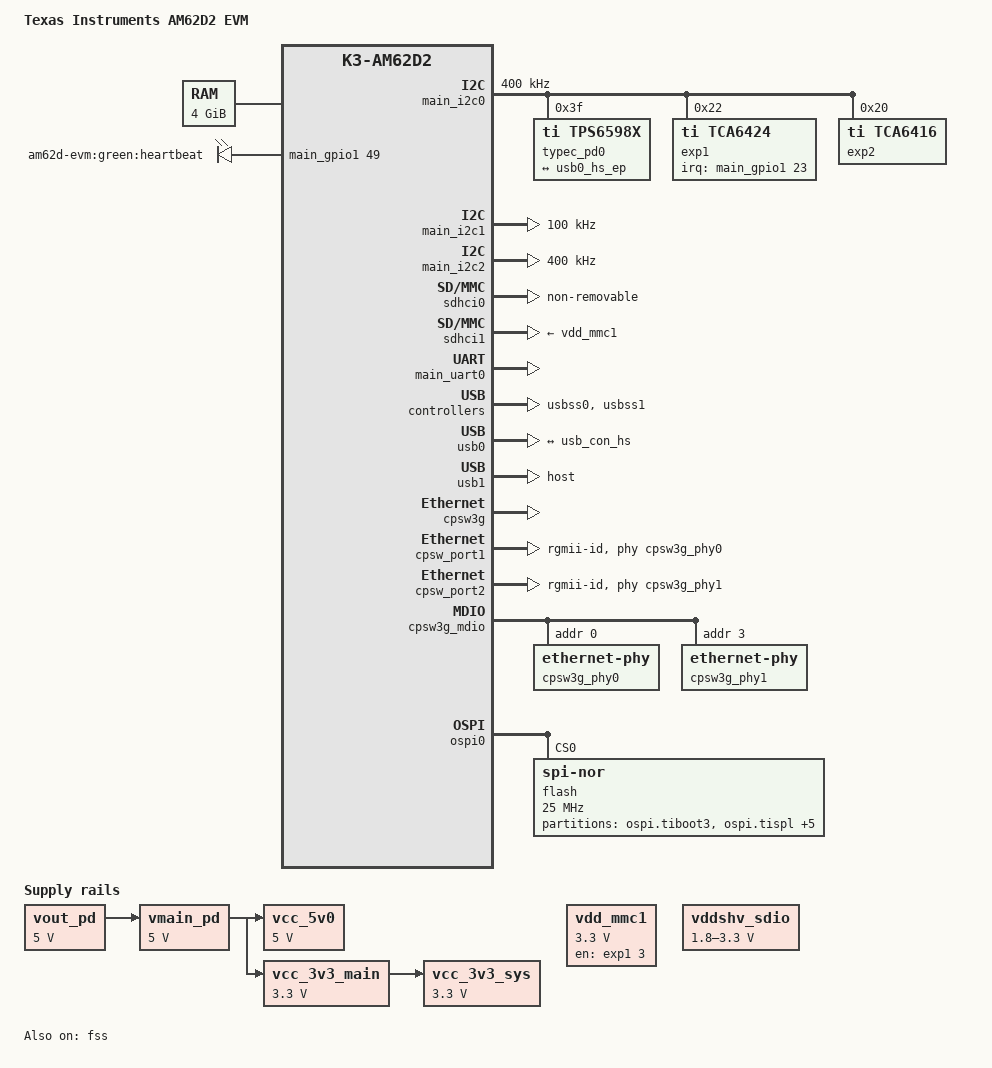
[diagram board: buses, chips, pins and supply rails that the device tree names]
// SPDX-License-Identifier: GPL-2.0-only OR MIT
/*
 * AM62D2 EVM: https://www.ti.com/lit/zip/sprcal5
 *
 * Copyright (C) 2025 Texas Instruments Incorporated - https://www.ti.com/
 */

/dts-v1/;

#include <dt-bindings/leds/common.h>
#include <dt-bindings/gpio/gpio.h>
#include <dt-bindings/net/ti-dp83867.h>
#include "k3-am62d2.dtsi"

/ {
	compatible = "ti,am62d2-evm", "ti,am62d2";
	model = "Texas Instruments AM62D2 EVM";

	aliases {
		serial0 = &wkup_uart0;
		serial1 = &mcu_uart0;
		serial2 = &main_uart0;
		mmc0 = &sdhci0;
		mmc1 = &sdhci1;
		rtc0 = &wkup_rtc0;
		ethernet0 = &cpsw_port1;
		ethernet1 = &cpsw_port2;
		spi0 = &ospi0;
	};

	chosen {
		stdout-path = &main_uart0;
	};

	memory@80000000 {
		device_type = "memory";
		/* 4G RAM */
		reg = <0x00000000 0x80000000 0x00000000 0x80000000>,
		      <0x00000008 0x80000000 0x00000000 0x80000000>;
		bootph-all;
	};

	reserved_memory: reserved-memory {
		#address-cells = <2>;
		#size-cells = <2>;
		ranges;

		/* global cma region */
		linux,cma {
			compatible = "shared-dma-pool";
			reusable;
			size = <0x00 0x2000000>;
			alloc-ranges = <0x00 0xc0000000 0x00 0x2000000>;
			linux,cma-default;
		};

		secure_tfa_ddr: tfa@80000000 {
			reg = <0x00 0x80000000 0x00 0x80000>;
			no-map;
		};

		wkup_r5fss0_core0_dma_memory_region: memory@9c800000 {
			compatible = "shared-dma-pool";
			reg = <0x00 0x9c800000 0x00 0x100000>;
			no-map;
		};

		wkup_r5fss0_core0_memory_region: memory@9c900000 {
			compatible = "shared-dma-pool";
			reg = <0x00 0x9c900000 0x00 0xf00000>;
			no-map;
			bootph-pre-ram;
		};

		secure_ddr: optee@9e800000 {
			reg = <0x00 0x9e800000 0x00 0x01800000>; /* for OP-TEE */
			no-map;
		};

		rtos_ipc_memory_region: memory@a0000000 {
			compatible = "shared-dma-pool";
			reg = <0x00 0xa0000000 0x00 0x01000000>;
			no-map;
		};
	};

	opp-table {
		/* Requires VDD_CORE at 0v85 */
		opp-1400000000 {
			opp-hz = /bits/ 64 <1400000000>;
			opp-supported-hw = <0x01 0x0004>;
			clock-latency-ns = <6000000>;
		};
	};

	vout_pd: regulator-0 {
		/* TPS65988 PD CONTROLLER OUTPUT */
		compatible = "regulator-fixed";
		regulator-name = "vout_pd";
		regulator-min-microvolt = <5000000>;
		regulator-max-microvolt = <5000000>;
		regulator-always-on;
		regulator-boot-on;
		bootph-all;
	};

	vmain_pd: regulator-1 {
		/* Output of TPS22811 */
		compatible = "regulator-fixed";
		regulator-name = "vmain_pd";
		regulator-min-microvolt = <5000000>;
		regulator-max-microvolt = <5000000>;
		vin-supply = <&vout_pd>;
		regulator-always-on;
		regulator-boot-on;
		bootph-all;
	};

	vcc_5v0: regulator-2 {
		/* Output of TPS630702RNMR */
		compatible = "regulator-fixed";
		regulator-name = "vcc_5v0";
		regulator-min-microvolt = <5000000>;
		regulator-max-microvolt = <5000000>;
		vin-supply = <&vmain_pd>;
		regulator-always-on;
		regulator-boot-on;
		bootph-all;
	};

	vcc_3v3_main: regulator-3 {
		/* output of LM5141-Q1 */
		compatible = "regulator-fixed";
		regulator-name = "vcc_3v3_main";
		regulator-min-microvolt = <3300000>;
		regulator-max-microvolt = <3300000>;
		vin-supply = <&vmain_pd>;
		regulator-always-on;
		regulator-boot-on;
		bootph-all;
	};

	vdd_mmc1: regulator-4 {
		/* TPS22918DBVR */
		compatible = "regulator-fixed";
		regulator-name = "vdd_mmc1";
		regulator-min-microvolt = <3300000>;
		regulator-max-microvolt = <3300000>;
		regulator-boot-on;
		enable-active-high;
		gpio = <&exp1 3 GPIO_ACTIVE_HIGH>;
		bootph-all;
	};

	vcc_3v3_sys: regulator-5 {
		/* output of TPS222965DSGT */
		compatible = "regulator-fixed";
		regulator-name = "vcc_3v3_sys";
		regulator-min-microvolt = <3300000>;
		regulator-max-microvolt = <3300000>;
		vin-supply = <&vcc_3v3_main>;
		regulator-always-on;
		regulator-boot-on;
		bootph-all;
	};

	vddshv_sdio: regulator-6 {
		compatible = "regulator-gpio";
		regulator-name = "vddshv_sdio";
		pinctrl-names = "default";
		pinctrl-0 = <&vddshv_sdio_pins_default>;
		regulator-min-microvolt = <1800000>;
		regulator-max-microvolt = <3300000>;
		regulator-boot-on;
		gpios = <&main_gpio1 31 GPIO_ACTIVE_HIGH>;
		states = <1800000 0x0>,
			 <3300000 0x1>;
		bootph-all;
	};

	leds {
		compatible = "gpio-leds";
		pinctrl-names = "default";
		pinctrl-0 = <&usr_led_pins_default>;

		led-0 {
			label = "am62d-evm:green:heartbeat";
			gpios = <&main_gpio1 49 GPIO_ACTIVE_HIGH>;
			linux,default-trigger = "heartbeat";
			function = LED_FUNCTION_HEARTBEAT;
			default-state = "off";
		};
	};
};

&mcu_pmx0 {
	status = "okay";

	pmic_irq_pins_default: pmic-irq-default-pins {
		pinctrl-single,pins = <
			AM62DX_MCU_IOPAD(0x000, PIN_INPUT, 7) /* (E11) MCU_GPIO0_0 */
		>;
	};

	wkup_uart0_pins_default: wkup-uart0-default-pins {
		pinctrl-single,pins = <
			AM62DX_MCU_IOPAD(0x0024, PIN_INPUT, 0) /* (C9) WKUP_UART0_RXD */
			AM62DX_MCU_IOPAD(0x0028, PIN_OUTPUT, 0) /* (E9) WKUP_UART0_TXD */
			AM62DX_MCU_IOPAD(0x002c, PIN_INPUT, 0) /* (C10) WKUP_UART0_CTSn */
			AM62DX_MCU_IOPAD(0x0030, PIN_OUTPUT, 0) /* (C8) WKUP_UART0_RTSn */
		>;
		bootph-all;
	};
};

/* WKUP UART0 is used for DM firmware logs */
&wkup_uart0 {
	pinctrl-names = "default";
	pinctrl-0 = <&wkup_uart0_pins_default>;
	bootph-all;
	status = "reserved";
};

&main_pmx0 {
	main_uart0_pins_default: main-uart0-default-pins {
		pinctrl-single,pins = <
			AM62DX_IOPAD(0x01c8, PIN_INPUT, 0) /* (E14) UART0_RXD */
			AM62DX_IOPAD(0x01cc, PIN_OUTPUT, 0) /* (D15) UART0_TXD */
		>;
		bootph-all;
	};

	main_i2c0_pins_default: main-i2c0-default-pins {
		pinctrl-single,pins = <
			AM62DX_IOPAD(0x01e0, PIN_INPUT_PULLUP, 0) /* (D17) I2C0_SCL */
			AM62DX_IOPAD(0x01e4, PIN_INPUT_PULLUP, 0) /* (E16) I2C0_SDA */
		>;
		bootph-all;
	};

	main_i2c1_pins_default: main-i2c1-default-pins {
		pinctrl-single,pins = <
			AM62DX_IOPAD(0x01e8, PIN_INPUT_PULLUP, 0) /* (C17) I2C1_SCL */
			AM62DX_IOPAD(0x01ec, PIN_INPUT_PULLUP, 0) /* (E17) I2C1_SDA */
		>;
		bootph-all;
	};

	main_i2c2_pins_default: main-i2c2-default-pins {
		pinctrl-single,pins = <
			AM62DX_IOPAD(0x00b0, PIN_INPUT_PULLUP, 1) /* (M22) GPMC0_CSn2.I2C2_SCL */
			AM62DX_IOPAD(0x00b4, PIN_INPUT_PULLUP, 1) /* (M20) GPMC0_CSn3.I2C2_SDA */
		>;
	};

	main_mmc0_pins_default: main-mmc0-default-pins {
		pinctrl-single,pins = <
			AM62DX_IOPAD(0x0220, PIN_INPUT_PULLUP, 0) /* (Y6) MMC0_CMD */
			AM62DX_IOPAD(0x0218, PIN_OUTPUT, 0) /* (AB7) MMC0_CLK */
			AM62DX_IOPAD(0x0214, PIN_INPUT_PULLUP, 0) /* (AA6) MMC0_DAT0 */
			AM62DX_IOPAD(0x0210, PIN_INPUT_PULLUP, 0) /* (AB6) MMC0_DAT1 */
			AM62DX_IOPAD(0x020c, PIN_INPUT_PULLUP, 0) /* (Y7) MMC0_DAT2 */
			AM62DX_IOPAD(0x0208, PIN_INPUT_PULLUP, 0) /* (AA7) MMC0_DAT3 */
			AM62DX_IOPAD(0x0204, PIN_INPUT_PULLUP, 0) /* (Y8) MMC0_DAT4 */
			AM62DX_IOPAD(0x0200, PIN_INPUT_PULLUP, 0) /* (W7) MMC0_DAT5 */
			AM62DX_IOPAD(0x01fc, PIN_INPUT_PULLUP, 0) /* (W9) MMC0_DAT6 */
			AM62DX_IOPAD(0x01f8, PIN_INPUT_PULLUP, 0) /* (AB8) MMC0_DAT7 */
		>;
		bootph-all;
	};

	main_mmc1_pins_default: main-mmc1-default-pins {
		pinctrl-single,pins = <
			AM62DX_IOPAD(0x023c, PIN_INPUT, 0) /* (C21) MMC1_CMD */
			AM62DX_IOPAD(0x0234, PIN_OUTPUT, 0) /* (E22) MMC1_CLK */
			AM62DX_IOPAD(0x0230, PIN_INPUT, 0) /* (B22) MMC1_DAT0 */
			AM62DX_IOPAD(0x022c, PIN_INPUT, 0) /* (D21) MMC1_DAT1 */
			AM62DX_IOPAD(0x0228, PIN_INPUT, 0) /* (C22) MMC1_DAT2 */
			AM62DX_IOPAD(0x0224, PIN_INPUT, 0) /* (D22) MMC1_DAT3 */
			AM62DX_IOPAD(0x0240, PIN_INPUT, 0) /* (E18) MMC1_SDCD */
		>;
		bootph-all;
	};

	main_mdio0_pins_default: main-mdio0-default-pins {
		pinctrl-single,pins = <
			AM62DX_IOPAD(0x160, PIN_OUTPUT, 0) /* (V12) MDIO0_MDC */
			AM62DX_IOPAD(0x15c, PIN_INPUT, 0) /* (V13) MDIO0_MDIO */
		>;
		bootph-all;
	};

	main_rgmii1_pins_default: main-rgmii1-default-pins {
		pinctrl-single,pins = <
			AM62DX_IOPAD(0x14c, PIN_INPUT, 0) /* (AB16) RGMII1_RD0 */
			AM62DX_IOPAD(0x150, PIN_INPUT, 0) /* (V15) RGMII1_RD1 */
			AM62DX_IOPAD(0x154, PIN_INPUT, 0) /* (W15) RGMII1_RD2 */
			AM62DX_IOPAD(0x158, PIN_INPUT, 0) /* (V14) RGMII1_RD3 */
			AM62DX_IOPAD(0x148, PIN_INPUT, 0) /* (AA16) RGMII1_RXC */
			AM62DX_IOPAD(0x144, PIN_INPUT, 0) /* (AA15) RGMII1_RX_CTL */
			AM62DX_IOPAD(0x134, PIN_INPUT, 0) /* (Y17) RGMII1_TD0 */
			AM62DX_IOPAD(0x138, PIN_INPUT, 0) /* (V16) RGMII1_TD1 */
			AM62DX_IOPAD(0x13c, PIN_INPUT, 0) /* (Y16) RGMII1_TD2 */
			AM62DX_IOPAD(0x140, PIN_INPUT, 0) /* (AA17) RGMII1_TD3 */
			AM62DX_IOPAD(0x0130, PIN_OUTPUT, 0) /* (AB17) RGMII1_TXC */
			AM62DX_IOPAD(0x012c, PIN_OUTPUT, 0) /* (W16) RGMII1_TX_CTL */
		>;
		bootph-all;
	};

	main_rgmii2_pins_default: main-rgmii2-default-pins {
		pinctrl-single,pins = <
			AM62DX_IOPAD(0x0184, PIN_INPUT, 0) /* (AA21) RGMII2_RD0 */
			AM62DX_IOPAD(0x0188, PIN_INPUT, 0) /* (Y20) RGMII2_RD1 */
			AM62DX_IOPAD(0x018c, PIN_INPUT, 0) /* (AB21) RGMII2_RD2 */
			AM62DX_IOPAD(0x0190, PIN_INPUT, 0) /* (AB20) RGMII2_RD3 */
			AM62DX_IOPAD(0x0180, PIN_INPUT, 0) /* (AA20) RGMII2_RXC */
			AM62DX_IOPAD(0x017c, PIN_INPUT, 0) /* (W18) RGMII2_RX_CTL */
			AM62DX_IOPAD(0x016c, PIN_INPUT, 0) /* (AA19) RGMII2_TD0 */
			AM62DX_IOPAD(0x0170, PIN_INPUT, 0) /* (Y18) RGMII2_TD1 */
			AM62DX_IOPAD(0x0174, PIN_INPUT, 0) /* (AA18) RGMII2_TD2 */
			AM62DX_IOPAD(0x0178, PIN_INPUT, 0) /* (W17) RGMII2_TD3 */
			AM62DX_IOPAD(0x0168, PIN_OUTPUT, 0) /* (AB19) RGMII2_TXC */
			AM62DX_IOPAD(0x0164, PIN_OUTPUT, 0) /* (Y19) RGMII2_TX_CTL */
		>;
		bootph-all;
	};

	main_gpio1_ioexp_intr_pins_default: main-gpio1-ioexp-intr-default-pins {
		pinctrl-single,pins = <
			AM62DX_IOPAD(0x01d4, PIN_INPUT, 7) /* (C15) UART0_RTSn.GPIO1_23 */
		>;
	};

	vddshv_sdio_pins_default: vddshv-sdio-default-pins {
		pinctrl-single,pins = <
			AM62DX_IOPAD(0x1f4, PIN_OUTPUT, 7) /* (M19) GPMC0_CLK.GPIO1_31 */
		>;
		bootph-all;
	};

	usr_led_pins_default: usr-led-default-pins {
		pinctrl-single,pins = <
			AM62DX_IOPAD(0x0244, PIN_INPUT, 7) /* (D18) MMC1_SDWP.GPIO1_49 */
		>;
	};

	main_usb1_pins_default: main-usb1-default-pins {
		pinctrl-single,pins = <
			AM62DX_IOPAD(0x0258, PIN_OUTPUT, 0) /* (D19) USB1_DRVVBUS */
		>;
	};

	ospi0_pins_default: ospi0-default-pins {
		pinctrl-single,pins = <
			AM62DX_IOPAD(0x0000, PIN_OUTPUT, 0) /* (L22) OSPI0_CLK */
			AM62DX_IOPAD(0x002c, PIN_OUTPUT, 0) /* (H21) OSPI0_CSn0 */
			AM62DX_IOPAD(0x0030, PIN_OUTPUT, 0) /* (G19) OSPI0_CSn1 */
			AM62DX_IOPAD(0x0034, PIN_OUTPUT, 0) /* (K20) OSPI0_CSn2 */
			AM62DX_IOPAD(0x0038, PIN_OUTPUT, 0) /* (G20) OSPI0_CSn3 */
			AM62DX_IOPAD(0x000c, PIN_INPUT, 0) /* (J21) OSPI0_D0 */
			AM62DX_IOPAD(0x0010, PIN_INPUT, 0) /* (J18) OSPI0_D1 */
			AM62DX_IOPAD(0x0014, PIN_INPUT, 0) /* (J19) OSPI0_D2 */
			AM62DX_IOPAD(0x0018, PIN_INPUT, 0) /* (H18) OSPI0_D3 */
			AM62DX_IOPAD(0x001c, PIN_INPUT, 0) /* (K21) OSPI0_D4 */
			AM62DX_IOPAD(0x0020, PIN_INPUT, 0) /* (H19) OSPI0_D5 */
			AM62DX_IOPAD(0x0024, PIN_INPUT, 0) /* (J20) OSPI0_D6 */
			AM62DX_IOPAD(0x0028, PIN_INPUT, 0) /* (J22) OSPI0_D7 */
			AM62DX_IOPAD(0x0008, PIN_INPUT, 0) /* (L21) OSPI0_DQS */
		>;
		bootph-all;
	};
};

&mcu_gpio0 {
	status = "okay";
};

&main_i2c0 {
	pinctrl-names = "default";
	pinctrl-0 = <&main_i2c0_pins_default>;
	clock-frequency = <400000>;
	bootph-all;
	status = "okay";

	typec_pd0: usb-power-controller@3f {
		compatible = "ti,tps6598x";
		reg = <0x3f>;

		connector {
			compatible = "usb-c-connector";
			label = "USB-C";
			self-powered;
			data-role = "dual";
			power-role = "sink";
			port {
				usb_con_hs: endpoint {
					remote-endpoint = <&usb0_hs_ep>;
				};
			};
		};
	};

	exp1: gpio@22 {
		compatible = "ti,tca6424";
		reg = <0x22>;
		gpio-controller;
		#gpio-cells = <2>;
		interrupt-parent = <&main_gpio1>;
		interrupts = <23 IRQ_TYPE_EDGE_FALLING>;
		interrupt-controller;
		#interrupt-cells = <2>;
		pinctrl-names = "default";
		pinctrl-0 = <&main_gpio1_ioexp_intr_pins_default>;
		bootph-all;

		gpio-line-names = "GPIO_CPSW2_RST", "GPIO_CPSW1_RST",
				  "","MMC1_SD_EN",
				  "VPP_EN", "GPIO_DIX_RST",
				  "IO_EXP_OPT_EN", "DIX_INT",
				  "GPIO_eMMC_RSTn", "CPLD2_DONE",
				  "CPLD2_INTN", "CPLD1_DONE",
				  "CPLD1_INTN", "USB_TYPEA_OC_INDICATION",
				  "PCM1_INT", "PCM2_INT",
				  "GPIO_PCM1_RST", "TEST_GPIO2",
				  "GPIO_PCM2_RST", "",
				  "IO_MCAN0_STB", "IO_MCAN1_STB",
				  "PD_I2C_IRQ", "IO_EXP_TEST_LED";
	};

	exp2: gpio@20 {
		compatible = "ti,tca6416";
		reg = <0x20>;
		gpio-controller;
		#gpio-cells = <2>;

		gpio-line-names = "PCM6240_BUF_IO_EN", "",
				  "CPLD1_JTAGENB", "CPLD1_PROGRAMN",
				  "CPLD2_JTAGENB", "CPLD2_PROGRAMN",
				  "", "",
				  "", "CPLD1_TCK",
				  "CPLD1_TMS", "CPLD1_TDI",
				  "CPLD1_TDO", "CPLD2_TCK",
				  "CPLD2_TMS", "CPLD2_TDI",
				  "CPLD2_TDO", "ADDR1_IO_EXP",
				  "SoC_I2C0_SCL", "SoC_I2C0_SDA";
	};
};

&main_i2c1 {
	pinctrl-names = "default";
	pinctrl-0 = <&main_i2c1_pins_default>;
	clock-frequency = <100000>;
	status = "okay";
};

&main_i2c2 {
	pinctrl-names = "default";
	pinctrl-0 = <&main_i2c2_pins_default>;
	clock-frequency = <400000>;
	status = "okay";
};

&sdhci0 {
	/* eMMC */
	non-removable;
	pinctrl-names = "default";
	pinctrl-0 = <&main_mmc0_pins_default>;
	bootph-all;
	status = "okay";
};

&sdhci1 {
	/* SD/MMC */
	vmmc-supply = <&vdd_mmc1>;
	vqmmc-supply = <&vddshv_sdio>;
	pinctrl-names = "default";
	pinctrl-0 = <&main_mmc1_pins_default>;
	disable-wp;
	bootph-all;
	status = "okay";
};

&main_gpio0 {
	bootph-all;
	status = "okay";
};

&main_gpio1 {
	bootph-all;
	status = "okay";
};

&main_gpio_intr {
	status = "okay";
};

&main_uart0 {
	pinctrl-names = "default";
	pinctrl-0 = <&main_uart0_pins_default>;
	bootph-all;
	status = "okay";
};

&usbss0 {
	status = "okay";
	ti,vbus-divider;
};

&usb0 {
	usb-role-switch;

	port {
		usb0_hs_ep: endpoint {
			remote-endpoint = <&usb_con_hs>;
		};
	};
};

&usbss1 {
	status = "okay";
};

&usb1 {
	dr_mode = "host";
	pinctrl-names = "default";
	pinctrl-0 = <&main_usb1_pins_default>;
};

&cpsw3g {
	pinctrl-names = "default";
	pinctrl-0 = <&main_rgmii1_pins_default>,
		    <&main_rgmii2_pins_default>;
	status = "okay";

	cpts@3d000 {
		/* MAP HW3_TS_PUSH to GENF1 */
		ti,pps = <2 1>;
	};
};

&cpsw_port1 {
	phy-mode = "rgmii-id";
	phy-handle = <&cpsw3g_phy0>;
	status = "okay";
};

&cpsw_port2 {
	phy-mode = "rgmii-id";
	phy-handle = <&cpsw3g_phy1>;
	status = "okay";
};

&cpsw3g_mdio {
	pinctrl-names = "default";
	pinctrl-0 = <&main_mdio0_pins_default>;
	status = "okay";

	cpsw3g_phy0: ethernet-phy@0 {
		reg = <0>;
		ti,fifo-depth = <DP83867_PHYCR_FIFO_DEPTH_4_B_NIB>;
		ti,min-output-impedance;
	};

	cpsw3g_phy1: ethernet-phy@3 {
		reg = <3>;
		ti,fifo-depth = <DP83867_PHYCR_FIFO_DEPTH_4_B_NIB>;
		ti,min-output-impedance;
	};
};

&fss {
	status = "okay";
};

&ospi0 {
	pinctrl-names = "default";
	pinctrl-0 = <&ospi0_pins_default>;
	status = "okay";

	flash@0{
		compatible = "jedec,spi-nor";
		reg = <0x0>;
		spi-tx-bus-width = <8>;
		spi-rx-bus-width = <8>;
		spi-max-frequency = <25000000>;
		cdns,tshsl-ns = <60>;
		cdns,tsd2d-ns = <60>;
		cdns,tchsh-ns = <60>;
		cdns,tslch-ns = <60>;
		cdns,read-delay = <4>;

		partitions {
			compatible = "fixed-partitions";
			#address-cells = <1>;
			#size-cells = <1>;

			partition@0 {
				label = "ospi.tiboot3";
				reg = <0x0 0x80000>;
			};

			partition@80000 {
				label = "ospi.tispl";
				reg = <0x80000 0x200000>;
			};

			partition@280000 {
				label = "ospi.u-boot";
				reg = <0x280000 0x400000>;
			};

			partition@680000 {
				label = "ospi.env";
				reg = <0x680000 0x40000>;
			};

			partition@6c0000 {
				label = "ospi.env.backup";
				reg = <0x6c0000 0x40000>;
			};

			partition@800000 {
				label = "ospi.rootfs";
				reg = <0x800000 0x37c0000>;
			};

			partition@3fc0000 {
				label = "ospi.phypattern";
				reg = <0x3fc0000 0x40000>;
				bootph-all;
			};
		};
	};
};

&wkup_r5fss0_core0 {
	bootph-pre-ram;
};

&mcu_r5fss0_core0 {
	firmware-name = "am62d-mcu-r5f0_0-fw";
};

&c7x_0 {
	firmware-name = "am62d-c71_0-fw";
};

#include "k3-am62a-ti-ipc-firmware.dtsi"
